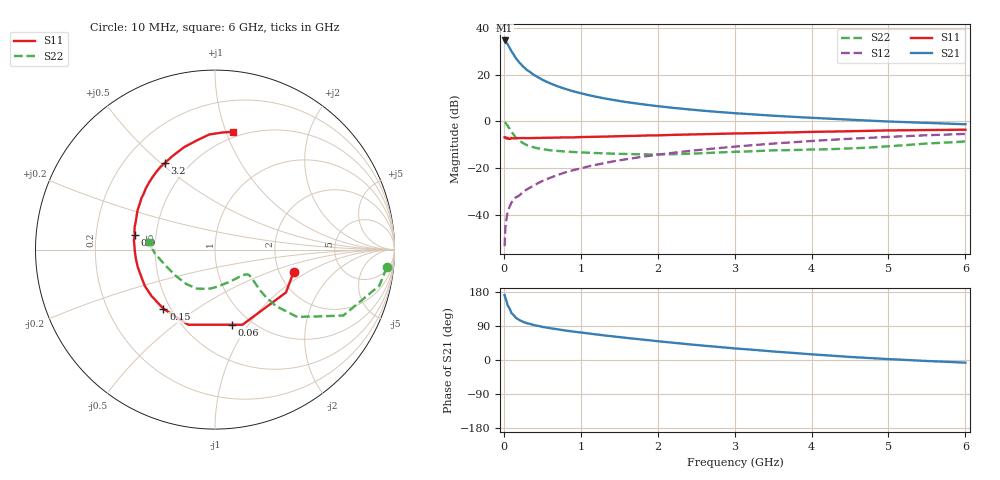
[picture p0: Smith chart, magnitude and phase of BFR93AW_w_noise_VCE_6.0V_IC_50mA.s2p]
! (c) 2017  Infineon Technologies AG, Munich
! Infineon Technologies  Discrete & RF Semiconductors
! BFR93AW
! VCE =  6.0 V,  IC =  50 mA
! Common Emitter S-Parameters:  Jan 2017
# GHz  S  MA  R  50
!  f  S11  S21  S12  S22
! GHz  MAG  ANG  MAG  ANG  MAG  ANG  MAG  ANG
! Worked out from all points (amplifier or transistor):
!   77 points, 10 MHz to 6 GHz, reference 50 ohm
!   highest |S21| = 34.8 dB at 10 MHz (marker M1)
!   |S21| within 3 dB of that: start of sweep to 72.14 MHz
!   unconditionally stable (mu >= 1): 490.1 MHz to 2.037 GHz
!   at 130 MHz: K = 0.60, MSG = 31.0 dB, |S12| = -33.5 dB
!   at 2.2 GHz: K = 0.99, MSG = 9.7 dB, |S12| = -13.5 dB
!   at 6 GHz: K = 0.88, MSG = 2.1 dB, |S12| = -5.4 dB
!   lowest NFmin = 2.30 dB at 450 MHz
!   S11 on the Smith chart (normalised r, x): 10 MHz: 2.40, -0.74; 60 MHz: 0.82, -0.84; 150 MHz: 0.46, -0.37; 900 MHz: 0.38, +0.08; 3.2 GHz: 0.37, +0.52; 6 GHz: 0.45, +1.06
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0.01  0.4558 -15.6  54.69 171.5  0.0021 77.3  0.9623 -5.9
0.02  0.462 -31.1  53.74 163.9  0.0052 81.6  0.9373 -12.4
0.05  0.4457 -69.9  45.14 144.0  0.0114 66.3  0.8035 -27.2
0.06  0.4287 -77.5  42.15 141.0  0.0128 65.2  0.7591 -29.1
0.1  0.4441 -109.6  31.93 123.6  0.0182 62.6  0.5928 -39.3
0.15  0.4373 -131.1  23.61 112.6  0.023 60.7  0.4621 -42.8
0.2  0.4382 -143.9  18.47 105.6  0.0257 63.2  0.3883 -43.0
0.25  0.4404 -152.5  15.13 100.6  0.0307 64.6  0.3413 -42.1
0.3  0.4379 -158.8  12.73 97.2  0.0347 66.3  0.3098 -40.8
0.4  0.4413 -167.2  9.741 91.6  0.0429 68.4  0.2742 -38.8
0.5  0.444 -173.8  7.85 87.5  0.0527 70.1  0.2536 -37.5
0.6  0.4468 -178.9  6.593 84.0  0.0615 71.1  0.2408 -37.0
0.7  0.4494 177.3  5.674 81.0  0.0708 72.3  0.2322 -37.0
0.9  0.4542 169.8  4.44 75.1  0.0896 71.7  0.2208 -38.8
1.1  0.4652 164.0  3.677 70.1  0.1083 71.3  0.2129 -41.8
1.5  0.4817 153.9  2.749 60.6  0.1458 69.2  0.2013 -51.0
2.1  0.5082 140.6  2.04 47.6  0.2026 64.6  0.1969 -70.7
3.1  0.5545 121.7  1.466 29.1  0.2966 55.5  0.2252 -103.9
3.2  0.558 119.9  1.429 27.6  0.3058 54.5  0.228 -106.8
4.1  0.5994 105.3  1.174 13.6  0.3888 45.2  0.2508 -133.3
5.1  0.6439 91.5  0.982 1.4  0.4735 34.2  0.3002 -166.4
6  0.6645 81.1  0.868 -7.0  0.5392 24.1  0.3709 173.6
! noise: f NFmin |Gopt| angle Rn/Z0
0.45  2.3  0.26  -178  0.17
0.9  2.59  0.31  -167  0.18
1.9  3.72  0.53  -132  0.42
2.4  4.45  0.58  -122  0.79
